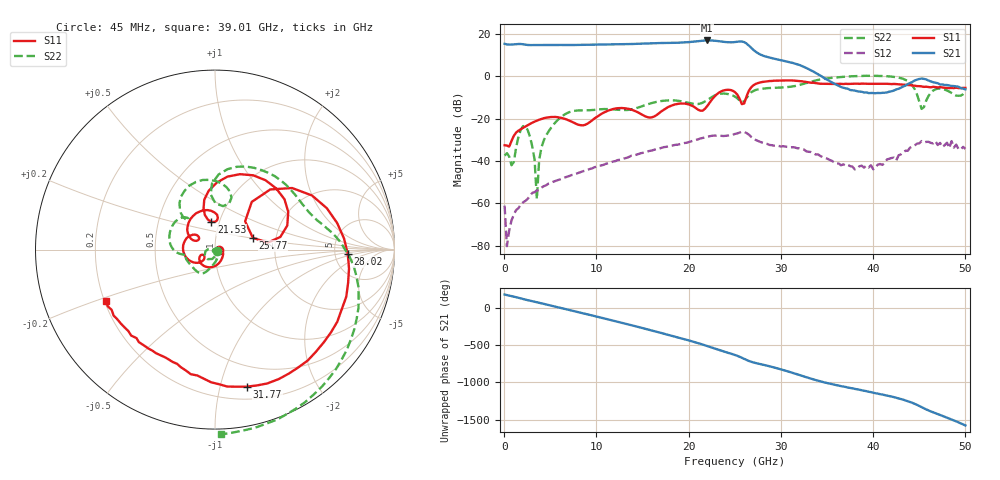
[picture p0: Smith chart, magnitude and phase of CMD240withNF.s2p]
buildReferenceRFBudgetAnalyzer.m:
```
%% Build Reference RF Budget Analyzer Chain
% Reference chain from "Agentic AI Antenna-to-bits Reference Chain.docx".

clear; clc;

projectRoot = fileparts(mfilename("fullpath"));
helpersDir = fullfile(projectRoot, "helpers");
addpath(helpersDir);

%% Global parameters
fIF = 4e9;
fLO = 8e9;
fRF = 12e9;
BW = 100e6;
Pin = -20;       % dBm
N = 4;           % baseline dipole array

%% Stage 1 - IF filter, BFIC #1
ifFilter = rffilter( ...
    "Name", "IFfilter", ...
    "FilterType", "InverseChebyshev", ...
    "ResponseType", "Bandpass", ...
    "FilterOrder", 5, ...
    "PassbandFrequency", fIF + [-BW/2 BW/2], ...
    "PassbandAttenuation", 3);

%% Stage 2 - Driver amplifier, BFIC #2
driverAmp = amplifier( ...
    "Name", "DriverAmp", ...
    "Model", "sparam", ...
    "FileName", fullfile(helpersDir, "CMD240withNF.s2p"), ...
    "OIP3", 28, ...
    "OP1dB", 19, ...
    "OPsat", 22);

%% Stage 3 - RF tuner / upconverter, BFIC #3
rfTuner = modulator( ...
    "Name", "RFtuner", ...
    "Model", "mod", ...
    "LO", fLO, ...
    "ConverterType", "Up", ...
    "Gain", 6, ...
    "NF", 3, ...
    "OIP3", 32);

%% Stage 4 - Wilkinson corporate splitter, BFIC #4
splitterData = load(fullfile(helpersDir, "WilkinsonSplitterData.mat"), "splitterSparam");
splitter = nport(sparameters(splitterData.splitterSparam), "WilkinsonSplitter");
splitter.Input = 1;
splitter.Output = 2;
splitter.Termination = 50;

%% Stage 5 - Power amplifier
pa = amplifier( ...
    "Name", "PA", ...
    "Model", "poly", ...
    "Gain", 25, ...
    "NF", 6, ...
    "OIP3", 45, ...
    "OP1dB", 33, ...
    "OPsat", 37.5);

%% Stage 6 - Baseline antenna element
rfAntenna = design(dipole, fRF);
antS = sparameters(rfAntenna, fRF);
antennaGain = pattern(rfAntenna, fRF, 0, 0);
budgetAntenna = rfantenna( ...
    "Name", "DipoleAnt", ...
    "Type", "Transmitter", ...
    "Gain", antennaGain, ...
    "Z", s2z(antS.Parameters));

%% RF Budget and analyzer
elements = [ifFilter driverAmp rfTuner splitter pa budgetAntenna];
budget = rfbudget( ...
    "Elements", elements, ...
    "InputFrequency", fIF, ...
    "AvailableInputPower", Pin, ...
    "SignalBandwidth", BW);

rfBudgetAnalyzer(budget);

%% Compact baseline roll-up for the 4-element array
paStage = 5;
paOutputPower = budget.OutputPower(paStage);

antennaArray = design(linearArray("Element", rfAntenna), fRF, rfAntenna);
antennaArray.NumElements = N;
arrayDirectivity = peakRadiation(antennaArray, fRF);
estimatedEIRP = paOutputPower + arrayDirectivity + 10*log10(N);

fprintf("Reference RF budget chain built and loaded in rfBudgetAnalyzer.\n");
fprintf("IF/RF: %.1f GHz -> %.1f GHz, BW %.0f MHz, Pin %.1f dBm\n", ...
    fIF/1e9, fRF/1e9, BW/1e6, Pin);
fprintf("PA output per path: %.2f dBm\n", paOutputPower);
fprintf("4-dipole array directivity: %.2f dBi\n", arrayDirectivity);
fprintf("Estimated array EIRP: %.2f dBm\n", estimatedEIRP);
```
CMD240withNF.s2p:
# GHz S RI R 50
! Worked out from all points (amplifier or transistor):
!   201 points, 45 MHz to 50 GHz, reference 50 ohm
!   highest |S21| = 17.0 dB at 22.03 GHz (marker M1)
!   |S21| within 3 dB of that: start of sweep to 26.66 GHz
!   unconditionally stable (mu >= 1): start of sweep to 37.12 GHz; 41.81 GHz to end of sweep
!   at 8.288 GHz: K = 16.05, MAG = 15.0 dB, |S12| = -45.2 dB
!   at 25.02 GHz: K = 1.48, MAG = 17.6 dB, |S12| = -27.2 dB
!   at 50 GHz: K = 30.69, MAG = -3.8 dB, |S12| = -34.3 dB
!   lowest NFmin = 1.80 dB at 8 GHz
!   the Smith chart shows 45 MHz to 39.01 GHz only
!   S11 on the Smith chart (normalised r, x): 45 MHz: 1.05, -0.00; 21.53 GHz: 0.92, +0.29; 25.77 GHz: 1.52, +0.21; 28.02 GHz: 6.62, -0.68; 31.77 GHz: 0.31, -1.21; 39.01 GHz: 0.21, -0.21
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0.045  0.0236 -0.00218  -5.864 0.2441  -0.000436 -0.000772  0.00881 -0.0101
12.53375  -0.1784 0.00687  -5.533 1.44  -0.0103 0.00324  -0.1573 -0.0356
17.77903  -0.1547 0.109  6.16 -0.3081  0.0217 0.00468  -0.2456 0.1137
21.52565  -0.0197 0.1541  -4.766 -5.073  -0.0116 -0.0332  -0.1668 0.1716
22.0252  -0.0565 0.193  -6.303 -3.165  -0.0234 -0.0298  -0.1899 0.2032
25.27227  0.3641 0.0705  1.583 6.379  -0.0118 0.0434  0.0917 0.2888
25.77182  0.2106 0.0661  4.288 5.103  0.00907 0.0486  0.0449 0.242
28.0198  0.7397 -0.0233  2.313 -2.086  0.0268 -0.00388  0.2582 0.443
31.76642  0.1783 -0.7636  -1.903 -0.2775  -0.00638 -0.0191  0.5908 0.146
39.0099  -0.6076 -0.2853  0.3541 -0.2205  0.00578 0.00396  0.0335 -1.03
50  0.0684 0.5299  -0.3644 -0.3338  0.0181 -0.00673  -0.2507 -0.3443
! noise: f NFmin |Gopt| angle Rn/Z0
2  4  0  0  37.5
4  2.9  0  0  23.75
6  2.2  0  0  15
8  1.8  0  0  10
10  2.2  0  0  15
12  2  0  0  12.5
14  2.1  0  0  13.75
16  2.3  0  0  16.25
18  2.4  0  0  17.5
22  3.7  0  0  33.75
